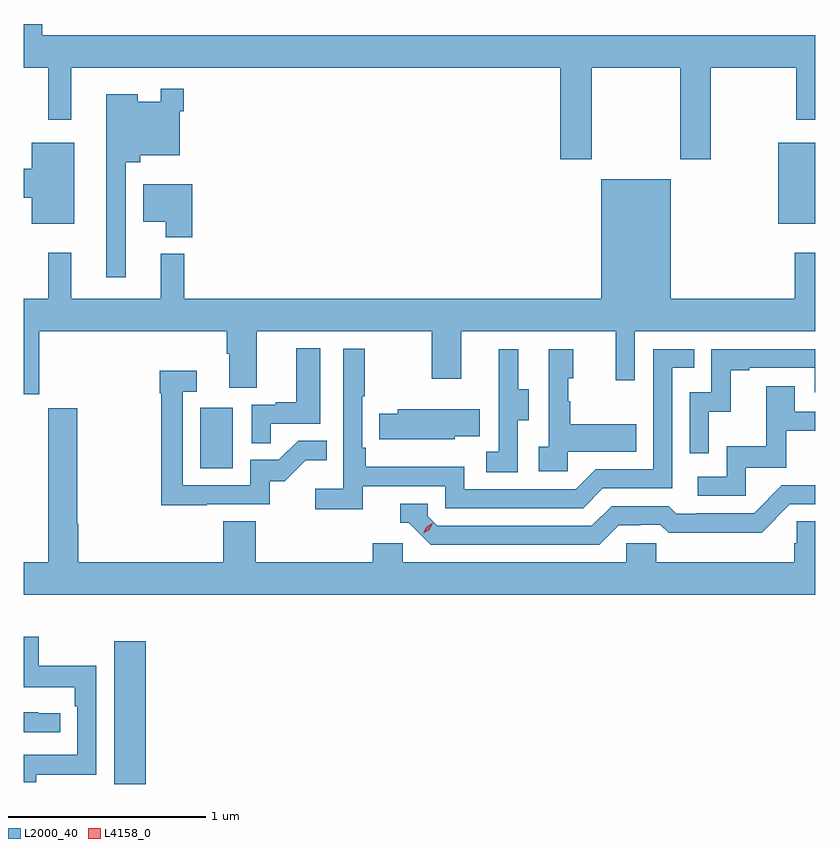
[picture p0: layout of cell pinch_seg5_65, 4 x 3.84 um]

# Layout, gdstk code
import gdstk
lib = gdstk.Library(unit=1e-6, precision=1e-09)
def R(c, l, rs):  # rectangles x0, y0, x1, y1
    for r in rs: c.add(gdstk.rectangle(r[:2], r[2:], *l))
def P(c, l, *ps):  # polygons
    for p in ps: c.add(gdstk.Polygon(p, *l))
L2000_40 = (2000, 40)
L4158_0 = (4158, 0)

pinch_seg5_65 = lib.new_cell('pinch_seg5_65')
R(pinch_seg5_65, L2000_40, [(1058.879,894.432,1059.04,895.153), (1059.314,896.028,1059.478,896.335), (1062.236,897.263,1062.423,897.673)])
P(pinch_seg5_65, L2000_40, [(1061.295,898.052),(1061.74,898.052),(1061.74,897.591),(1061.895,897.591),(1061.895,898.052),(1062.327,898.052),(1062.327,897.789),(1062.423,897.789),(1062.423,898.216),(1058.516,898.216),(1058.516,898.274),(1058.423,898.274),(1058.423,898.052),(1058.545,898.052),(1058.545,897.789),(1058.662,897.789),(1058.662,898.052),(1061.135,898.052),(1061.135,897.591),(1061.295,897.591)],
  [(1058.937,897.575),(1059.011,897.575),(1059.011,897.611),(1059.21,897.611),(1059.21,897.833),(1059.23,897.833),(1059.23,897.946),(1059.114,897.946),(1059.114,897.88),(1058.998,897.88),(1058.998,897.919),(1058.84,897.919),(1058.84,896.994),(1058.937,896.994)],
  [(1058.677,897.673),(1058.462,897.673),(1058.462,897.542),(1058.423,897.542),(1058.423,897.395),(1058.462,897.395),(1058.462,897.263),(1058.677,897.263)],
  [(1061.342,896.884),(1059.233,896.884),(1059.233,897.112),(1059.116,897.112),(1059.116,896.884),(1058.663,896.884),(1058.663,897.118),(1058.545,897.118),(1058.545,896.884),(1058.423,896.884),(1058.423,896.403),(1058.5,896.403),(1058.5,896.72),(1059.449,896.72),(1059.449,896.608),(1059.461,896.608),(1059.461,896.434),(1059.601,896.434),(1059.601,896.72),(1060.486,896.72),(1060.486,896.481),(1060.633,896.481),(1060.633,896.72),(1061.414,896.72),(1061.414,896.472),(1061.511,896.472),(1061.511,896.72),(1062.423,896.72),(1062.423,897.118),(1062.319,897.118),(1062.319,896.884),(1061.692,896.884),(1061.692,897.49),(1061.342,897.49)],
  [(1059.275,897.463),(1059.026,897.463),(1059.026,897.275),(1059.14,897.275),(1059.14,897.197),(1059.275,897.197)],
  [(1059.671,896.253),(1059.922,896.253),(1059.922,896.635),(1059.8,896.635),(1059.8,896.362),(1059.697,896.362),(1059.697,896.349),(1059.576,896.349),(1059.576,896.155),(1059.671,896.155)],
  [(1060.136,895.938),(1060.554,895.938),(1060.554,895.827),(1061.251,895.827),(1061.35,895.926),(1061.7,895.926),(1061.7,896.535),(1061.813,896.535),(1061.813,896.631),(1061.604,896.631),(1061.604,896.022),(1061.313,896.022),(1061.214,895.923),(1060.65,895.923),(1060.65,896.035),(1060.151,896.035),(1060.151,896.131),(1060.134,896.131),(1060.134,896.392),(1060.147,896.392),(1060.147,896.632),(1060.038,896.632),(1060.038,895.924),(1059.897,895.924),(1059.897,895.822),(1060.136,895.822)],
  [(1061.886,896.315),(1061.996,896.315),(1061.996,896.523),(1062.091,896.523),(1062.091,896.535),(1062.42,896.535),(1062.42,896.412),(1062.423,896.412),(1062.423,896.631),(1061.898,896.631),(1061.898,896.412),(1061.79,896.412),(1061.79,896.103),(1061.886,896.103)],
  [(1060.92,896.272),(1060.975,896.272),(1060.975,896.427),(1060.921,896.427),(1060.921,896.629),(1060.823,896.629),(1060.823,896.415),(1060.824,896.415),(1060.824,896.111),(1060.761,896.111),(1060.761,896.008),(1060.92,896.008)],
  [(1061.172,896.111),(1061.519,896.111),(1061.519,896.251),(1061.185,896.251),(1061.185,896.366),(1061.175,896.366),(1061.175,896.484),(1061.2,896.484),(1061.2,896.629),(1061.076,896.629),(1061.076,896.138),(1061.025,896.138),(1061.025,896.013),(1061.172,896.013)],
  [(1059.347,895.845),(1059.666,895.845),(1059.666,895.962),(1059.742,895.962),(1059.849,896.069),(1059.953,896.069),(1059.953,896.168),(1059.81,896.168),(1059.712,896.07),(1059.567,896.07),(1059.567,895.941),(1059.225,895.941),(1059.225,896.415),(1059.298,896.415),(1059.298,896.521),(1059.109,896.521),(1059.109,896.408),(1059.117,896.408),(1059.117,895.84),(1059.347,895.84)],
  [(1062.072,896.031),(1062.277,896.031),(1062.277,896.217),(1062.423,896.217),(1062.423,896.313),(1062.319,896.313),(1062.319,896.443),(1062.175,896.443),(1062.175,896.14),(1061.976,896.14),(1061.976,895.986),(1061.829,895.986),(1061.829,895.89),(1062.072,895.89)],
  [(1062.423,895.76),(1062.331,895.76),(1062.331,895.65),(1062.317,895.65),(1062.317,895.552),(1061.619,895.552),(1061.619,895.65),(1061.469,895.65),(1061.469,895.552),(1060.338,895.552),(1060.338,895.65),(1060.187,895.65),(1060.187,895.552),(1059.596,895.552),(1059.596,895.76),(1059.431,895.76),(1059.431,895.552),(1058.699,895.552),(1058.699,895.748),(1058.694,895.748),(1058.694,896.331),(1058.546,896.331),(1058.546,895.552),(1058.423,895.552),(1058.423,895.388),(1062.423,895.388)],
  [(1060.602,896.189),(1060.727,896.189),(1060.727,896.326),(1060.313,896.326),(1060.313,896.304),(1060.219,896.304),(1060.219,896.175),(1060.33,896.175),(1060.33,896.174),(1060.602,896.174)],
  [(1061.431,895.74),(1061.538,895.74),(1061.538,895.743),(1061.641,895.743),(1061.683,895.701),(1061.916,895.701),(1061.916,895.703),(1062.152,895.703),(1062.294,895.845),(1062.423,895.845),(1062.423,895.941),(1062.255,895.941),(1062.114,895.8),(1061.821,895.8),(1061.821,895.797),(1061.722,895.797),(1061.683,895.836),(1061.394,895.836),(1061.295,895.737),(1060.512,895.737),(1060.464,895.785),(1060.464,895.848),(1060.325,895.848),(1060.325,895.752),(1060.368,895.752),(1060.479,895.641),(1061.332,895.641)],
  [(1058.485,894.478),(1058.79,894.478),(1058.79,895.03),(1058.497,895.03),(1058.497,895.176),(1058.423,895.176),(1058.423,894.92),(1058.681,894.92),(1058.681,894.824),(1058.694,894.824),(1058.694,894.579),(1058.423,894.579),(1058.423,894.44),(1058.485,894.44)],
  [(1058.608,894.789),(1058.495,894.789),(1058.495,894.794),(1058.423,894.794),(1058.423,894.693),(1058.608,894.693)])
P(pinch_seg5_65, L4158_0, [(1060.441,895.699),(1060.441,895.699),(1060.457,895.731),(1060.488,895.75),(1060.489,895.75),(1060.489,895.75),(1060.472,895.718),(1060.441,895.699)])

lib.write_gds('pinch_seg5_65.gds')
